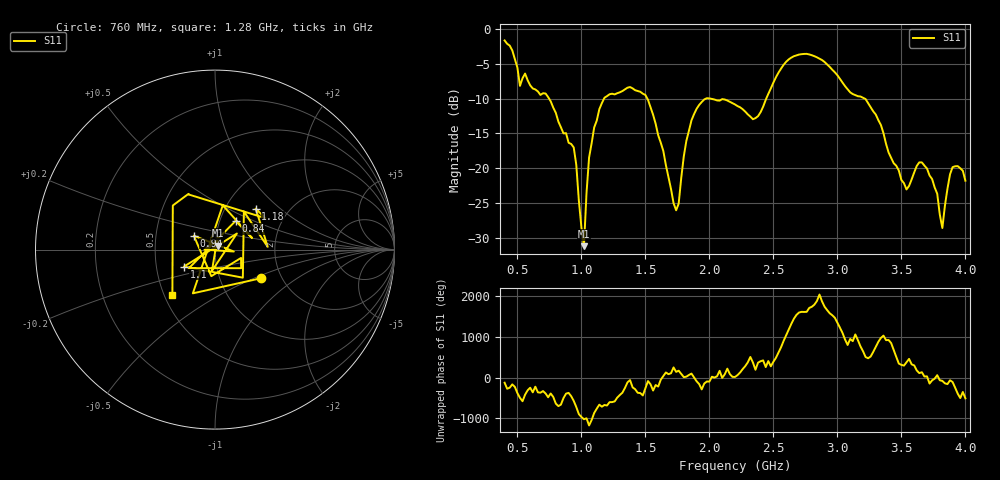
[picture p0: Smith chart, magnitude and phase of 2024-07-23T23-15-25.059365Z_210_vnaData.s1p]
!Created with skrf (http://scikit-rf.org).
# Hz S RI R 50.0
!freq ReS11 ImS11
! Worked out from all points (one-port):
!   181 points, 400 MHz to 4 GHz, reference 50 ohm
!   lowest |S11| = -31.2 dB at 1.02 GHz (marker M1), VSWR 1.06, Z = 51.5 + j2.33 ohm
!   |S11| at or under -10 dB: 1.516 GHz to 1.971 GHz (454.8 MHz wide, 26.1 % of centre); 2.014 GHz to 2.444 GHz (429.5 MHz wide, 19.3 % of centre); 3.216 GHz to end of sweep (the widest 3 of 4)
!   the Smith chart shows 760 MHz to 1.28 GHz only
!   S11 on the Smith chart (normalised r, x): 760 MHz: 1.58, -0.55; 840 MHz: 1.19, +0.40; 940 MHz: 0.78, +0.12; 1.1 GHz: 0.69, -0.14; 1.18 GHz: 1.38, +0.70; 1.28 GHz: 0.55, -0.32
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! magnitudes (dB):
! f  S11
! 400 MHz  -1.6
! 520 MHz  -8.1
! 560 MHz  -6.4
! 760 MHz  -10.4
! 840 MHz  -14.1
! 860 MHz  -15.0
! 940 MHz  -17.0
! 1.02 GHz  -31.2
! 1.06 GHz  -18.5
! 1.1 GHz  -14.1
! 1.18 GHz  -9.9
! 1.28 GHz  -9.2
! 1.3 GHz  -9.1
! 1.52 GHz  -10.1
! 1.72 GHz  -25.0
! 1.76 GHz  -25.1
! 1.82 GHz  -16.1
! 1.9 GHz  -11.4
! 2.2 GHz  -10.8
! 2.38 GHz  -12.5
! 2.66 GHz  -3.9
! 3.1 GHz  -9.1
! 3.3 GHz  -12.3
! 3.56 GHz  -22.5
! 3.7 GHz  -20.0
! 3.82 GHz  -28.6
! 3.9 GHz  -19.8
! 4 GHz  -21.8
